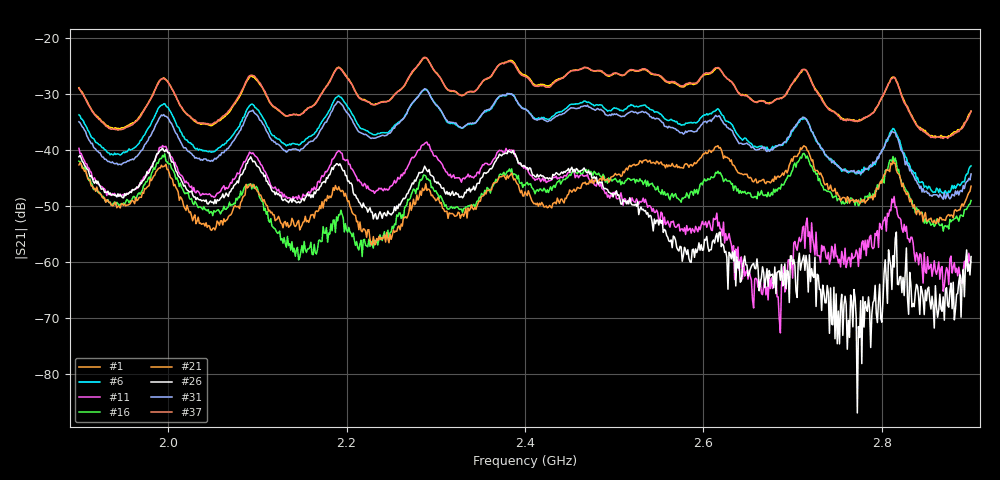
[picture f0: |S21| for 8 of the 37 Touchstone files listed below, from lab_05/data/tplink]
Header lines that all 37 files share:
! Touchstone 1.1 file saved by VNA.EXE V1.65 (www.ke5fx.com/gpib/readme.htm)
!  Source: HEWLETT PACKARD,8753D,0,6.14
!  Min freq: 1.900000E+009 Hz
!  Max freq: 2.900000E+009 Hz
!  Points: 801
!  Params: S11 S21 S12 S22
# GHZ S RI R 50
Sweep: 1.9 GHz to 2.9 GHz
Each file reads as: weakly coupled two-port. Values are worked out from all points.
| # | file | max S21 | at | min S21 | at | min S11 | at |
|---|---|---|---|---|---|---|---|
| 1 | 0.S2P | -23.57 dB | 2.289 GHz | -37.8 dB | 2.873 GHz | -43.9 dB | 2.478 GHz |
| 2 | 10.S2P | -23.95 dB | 2.289 GHz | -38.3 dB | 2.868 GHz | -47.7 dB | 2.478 GHz |
| 3 | 20.S2P | -24.70 dB | 2.288 GHz | -39.5 dB | 2.866 GHz | -56.8 dB | 2.478 GHz |
| 4 | 30.S2P | -25.90 dB | 2.289 GHz | -41.6 dB | 2.874 GHz | -63.3 dB | 2.479 GHz |
| 5 | 40.S2P | -27.45 dB | 2.289 GHz | -44.4 dB | 2.873 GHz | -58.8 dB | 2.479 GHz |
| 6 | 50.S2P | -29.30 dB | 2.29 GHz | -47.9 dB | 2.873 GHz | -51.5 dB | 2.479 GHz |
| 7 | 60.S2P | -31.09 dB | 2.288 GHz | -52.5 dB | 2.874 GHz | -51.2 dB | 2.479 GHz |
| 8 | 70.S2P | -32.82 dB | 2.289 GHz | -56.5 dB | 2.875 GHz | -52.9 dB | 2.479 GHz |
| 9 | 80.S2P | -34.46 dB | 2.288 GHz | -58.3 dB | 2.874 GHz | -54.6 dB | 2.479 GHz |
| 10 | 90.S2P | -36.35 dB | 2.289 GHz | -60.7 dB | 2.875 GHz | -56.3 dB | 2.479 GHz |
| 11 | 100.S2P | -38.64 dB | 2.29 GHz | -72.7 dB | 2.686 GHz | -61.3 dB | 2.479 GHz |
| 12 | 110.S2P | -40.38 dB | 1.996 GHz | -83.3 dB | 2.58 GHz | -54.5 dB | 2.479 GHz |
| 13 | 120.S2P | -40.98 dB | 1.995 GHz | -68.3 dB | 2.507 GHz | -48.1 dB | 2.49 GHz |
| 14 | 130.S2P | -41.76 dB | 1.994 GHz | -65.7 dB | 2.495 GHz | -49.2 dB | 2.489 GHz |
| 15 | 140.S2P | -41.14 dB | 2.711 GHz | -60.3 dB | 2.23 GHz | -51.9 dB | 2.479 GHz |
| 16 | 150.S2P | -40.63 dB | 2.712 GHz | -59.7 dB | 2.146 GHz | -54.6 dB | 2.479 GHz |
| 17 | 160.S2P | -39.72 dB | 2.714 GHz | -59.1 dB | 2.149 GHz | -47.2 dB | 2.478 GHz |
| 18 | 170.S2P | -39.35 dB | 2.81 GHz | -58.5 dB | 2.145 GHz | -39.7 dB | 2.507 GHz |
| 19 | 180.S2P | -38.64 dB | 2.814 GHz | -57.9 dB | 2.145 GHz | -44.2 dB | 2.509 GHz |
| 20 | 190.S2P | -38.12 dB | 2.714 GHz | -56.4 dB | 2.225 GHz | -46.3 dB | 2.489 GHz |
| 21 | 200.S2P | -39.30 dB | 2.616 GHz | -57.0 dB | 2.229 GHz | -49.0 dB | 2.489 GHz |
| 22 | 210.S2P | -39.97 dB | 2.615 GHz | -61.0 dB | 2.231 GHz | -48.7 dB | 2.489 GHz |
| 23 | 220.S2P | -41.73 dB | 2.612 GHz | -76.9 dB | 2.441 GHz | -47.8 dB | 2.489 GHz |
| 24 | 230.S2P | -41.82 dB | 1.996 GHz | -59.7 dB | 2.266 GHz | -50.7 dB | 2.49 GHz |
| 25 | 240.S2P | -40.98 dB | 1.992 GHz | -62.2 dB | 2.665 GHz | -53.0 dB | 2.489 GHz |
| 26 | 250.S2P | -39.74 dB | 1.994 GHz | -87.0 dB | 2.772 GHz | -57.1 dB | 2.487 GHz |
| 27 | 260.S2P | -37.41 dB | 2.384 GHz | -74.2 dB | 2.865 GHz | -52.1 dB | 2.486 GHz |
| 28 | 270.S2P | -34.76 dB | 2.382 GHz | -59.4 dB | 2.848 GHz | -51.5 dB | 2.487 GHz |
| 29 | 280.S2P | -32.80 dB | 2.382 GHz | -53.7 dB | 2.87 GHz | -52.4 dB | 2.489 GHz |
| 30 | 290.S2P | -30.93 dB | 2.288 GHz | -51.6 dB | 2.871 GHz | -49.9 dB | 2.49 GHz |
| 31 | 300.S2P | -29.13 dB | 2.288 GHz | -48.8 dB | 2.869 GHz | -51.4 dB | 2.491 GHz |
| 32 | 310.S2P | -27.62 dB | 2.288 GHz | -46.2 dB | 2.873 GHz | -50.4 dB | 2.491 GHz |
| 33 | 320.S2P | -26.24 dB | 2.288 GHz | -43.5 dB | 2.873 GHz | -55.3 dB | 2.489 GHz |
| 34 | 330.S2P | -25.03 dB | 2.288 GHz | -40.9 dB | 2.871 GHz | -53.9 dB | 2.487 GHz |
| 35 | 340.S2P | -24.16 dB | 2.289 GHz | -39.3 dB | 2.871 GHz | -60.5 dB | 2.48 GHz |
| 36 | 350.S2P | -23.64 dB | 2.288 GHz | -38.2 dB | 2.871 GHz | -61.1 dB | 2.479 GHz |
| 37 | 360.S2P | -23.52 dB | 2.288 GHz | -38.0 dB | 2.869 GHz | -57.3 dB | 2.479 GHz |
